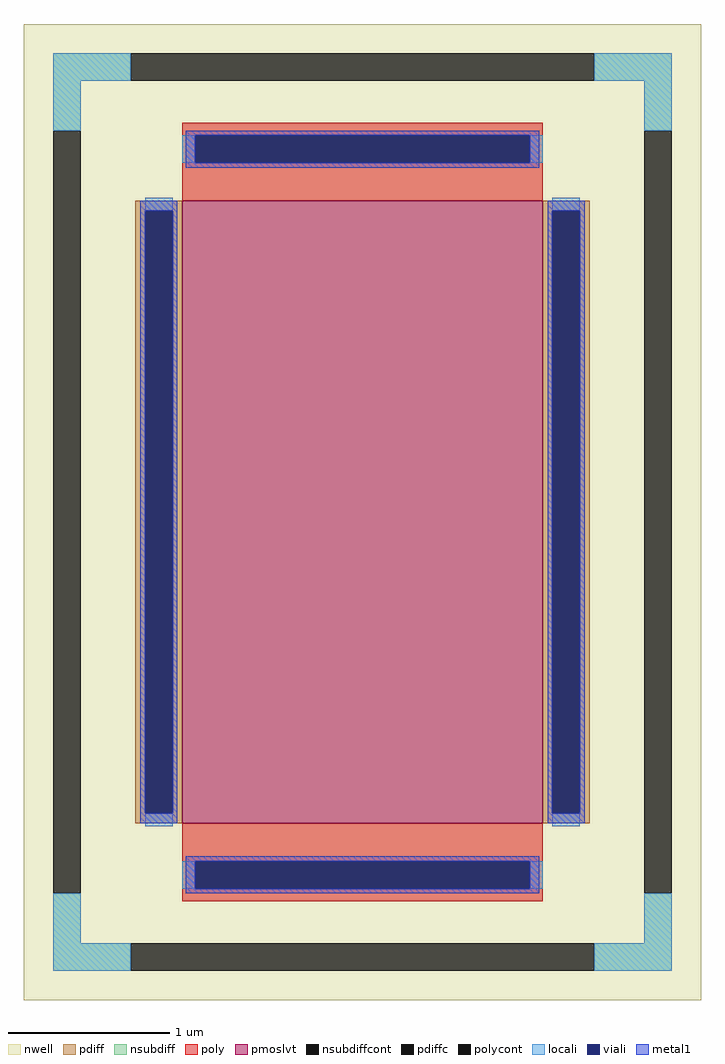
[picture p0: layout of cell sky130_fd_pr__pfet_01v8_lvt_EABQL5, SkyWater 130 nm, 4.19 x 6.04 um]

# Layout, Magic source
magic
tech sky130A
magscale 1 2
<< nwell >>
rect -419 -604 419 604
<< pmoslvt >>
rect -223 -385 223 385
<< pdiff >>
rect -281 373 -223 385
rect -281 -373 -269 373
rect -235 -373 -223 373
rect -281 -385 -223 -373
rect 223 373 281 385
rect 223 -373 235 373
rect 269 -373 281 373
rect 223 -385 281 -373
<< pdiffc >>
rect -269 -373 -235 373
rect 235 -373 269 373
<< nsubdiff >>
rect -383 534 -287 568
rect 287 534 383 568
rect -383 472 -349 534
rect 349 472 383 534
rect -383 -534 -349 -472
rect 349 -534 383 -472
rect -383 -568 -287 -534
rect 287 -568 383 -534
<< nsubdiffcont >>
rect -287 534 287 568
rect -383 -472 -349 472
rect 349 -472 383 472
rect -287 -568 287 -534
<< poly >>
rect -223 466 223 482
rect -223 432 -207 466
rect 207 432 223 466
rect -223 385 223 432
rect -223 -432 223 -385
rect -223 -466 -207 -432
rect 207 -466 223 -432
rect -223 -482 223 -466
<< polycont >>
rect -207 432 207 466
rect -207 -466 207 -432
<< locali >>
rect -383 534 -287 568
rect 287 534 383 568
rect -383 472 -349 534
rect 349 472 383 534
rect -223 432 -207 466
rect 207 432 223 466
rect -269 373 -235 389
rect -269 -389 -235 -373
rect 235 373 269 389
rect 235 -389 269 -373
rect -223 -466 -207 -432
rect 207 -466 223 -432
rect -383 -534 -349 -472
rect 349 -534 383 -472
rect -383 -568 -287 -534
rect 287 -568 383 -534
<< viali >>
rect -207 432 207 466
rect -269 -373 -235 373
rect 235 -373 269 373
rect -207 -466 207 -432
<< metal1 >>
rect -219 466 219 472
rect -219 432 -207 466
rect 207 432 219 466
rect -219 426 219 432
rect -275 373 -229 385
rect -275 -373 -269 373
rect -235 -373 -229 373
rect -275 -385 -229 -373
rect 229 373 275 385
rect 229 -373 235 373
rect 269 -373 275 373
rect 229 -385 275 -373
rect -219 -432 219 -426
rect -219 -466 -207 -432
rect 207 -466 219 -432
rect -219 -472 219 -466
<< properties >>
string FIXED_BBOX -366 -551 366 551
string gencell sky130_fd_pr__pfet_01v8_lvt
string library sky130
string parameters w 3.85 l 2.23 m 1 nf 1 diffcov 100 polycov 100 guard 1 glc 1 grc 1 gtc 1 gbc 1 tbcov 100 rlcov 100 topc 1 botc 1 poverlap 0 doverlap 1 lmin 0.35 wmin 0.42 compatible {sky130_fd_pr__pfet_01v8  sky130_fd_pr__pfet_01v8_lvt sky130_fd_pr__pfet_01v8_hvt  sky130_fd_pr__pfet_g5v0d10v5} full_metal 1 viasrc 100 viadrn 100 viagate 100 viagb 0 viagr 0 viagl 0 viagt 0
<< end >>
